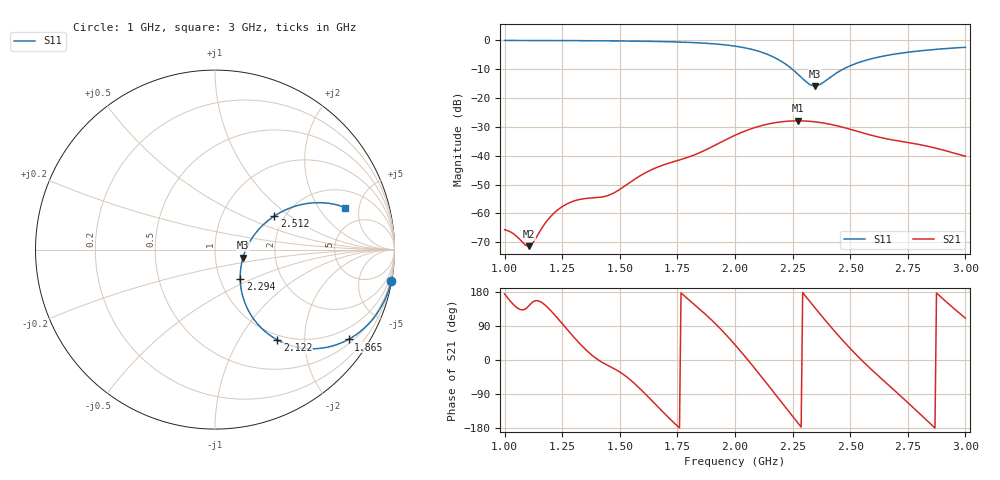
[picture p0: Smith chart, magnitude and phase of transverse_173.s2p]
! TOUCHSTONE file generated by CST MICROWAVE STUDIO
! Date and time: Tue Mar 11 13:57:21 2025
! Project name: transverse.cst
! Parameters = {Fracture=1; B=10; D=160; F=25; Feed=2.85625; L=100; M=20; R=0.384908; S=1; Theta=180; length=57.125; wave=114.25}
! Header version: 2024
! Port assignment regex: !\s*Touchstone port\s*([0-9]+)\s*=\s*(CST MWS port|CST DES external port|CST DES block port)\s*(.+)\s* \(\"(.*)\"\)(\s*mode\s*([0-9]+))?.*
! Touchstone port assignment:
! Touchstone port 1 = CST MWS port 1 ("")
! Touchstone port 2 = CST MWS port 2 ("")
# GHz S MA R 50
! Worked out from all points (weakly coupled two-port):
!   304 points, 1 GHz to 3 GHz, reference 50 ohm
!   highest |S21| = -27.90 dB at 2.274 GHz (marker M1); lowest = -71.4 dB at 1.106 GHz (marker M2)
!   lowest |S11| = -15.8 dB at 2.347 GHz (marker M3), VSWR 1.39, Z = 68.2 - j6.22 ohm
!   |S11| at or under -10 dB: 2.249 GHz to 2.469 GHz (220 MHz wide, 9.33 % of centre)
!   S12 and S22 are empty: the file has one direction only
!   S11 on the Smith chart (normalised r, x): 1 GHz: 0, -11; 1.865 GHz: 0.62, -3.17; 2.122 GHz: 0.92, -1.48; 2.294 GHz: 1.24, -0.43; 2.512 GHz: 1.77, +0.77; 3 GHz: 3.20, +3.55
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1  0.9976 -10.0  0.0005207 174.4  0 0.0  0 0.0
1.0396  0.9972 -10.6  0.00044 145.5  0 0.0  0 0.0
1.10561  0.9964 -11.5  0.0002702 143.2  0 0.0  0 0.0
1.11881  0.9961 -11.7  0.0002947 151.5  0 0.0  0 0.0
1.17822  0.9946 -12.7  0.0006945 143.7  0 0.0  0 0.0
1.21782  0.9935 -13.3  0.001042 118.6  0 0.0  0 0.0
1.27063  0.9918 -14.3  0.001461 81.2  0 0.0  0 0.0
1.33663  0.9892 -15.6  0.001779 36.6  0 0.0  0 0.0
1.46205  0.9811 -18.3  0.002145 -18.7  0 0.0  0 0.0
1.66667  0.9574 -24.5  0.006406 -124.5  0 0.0  0 0.0
1.86469  0.8965 -33.9  0.01218 124.5  0 0.0  0 0.0
2.0033  0.7915 -44.2  0.02296 38.0  0 0.0  0 0.0
2.12211  0.6113 -55.4  0.03385 -49.8  0 0.0  0 0.0
2.20132  0.4333 -61.0  0.03876 -110.8  0 0.0  0 0.0
2.27393  0.2575 -55.8  0.04029 -166.9  0 0.0  0 0.0
2.29373  0.2168 -49.6  0.04017 177.9  0 0.0  0 0.0
2.33993  0.1631 -21.1  0.03901 143.0  0 0.0  0 0.0
2.34653  0.1622 -15.9  0.03876 138.0  0 0.0  0 0.0
2.42574  0.2485 22.6  0.03425 80.5  0 0.0  0 0.0
2.51155  0.3792 29.5  0.02789 23.1  0 0.0  0 0.0
2.66997  0.5584 27.1  0.01924 -68.1  0 0.0  0 0.0
3  0.7592 18.0  0.009804 110.4  0 0.0  0 0.0
